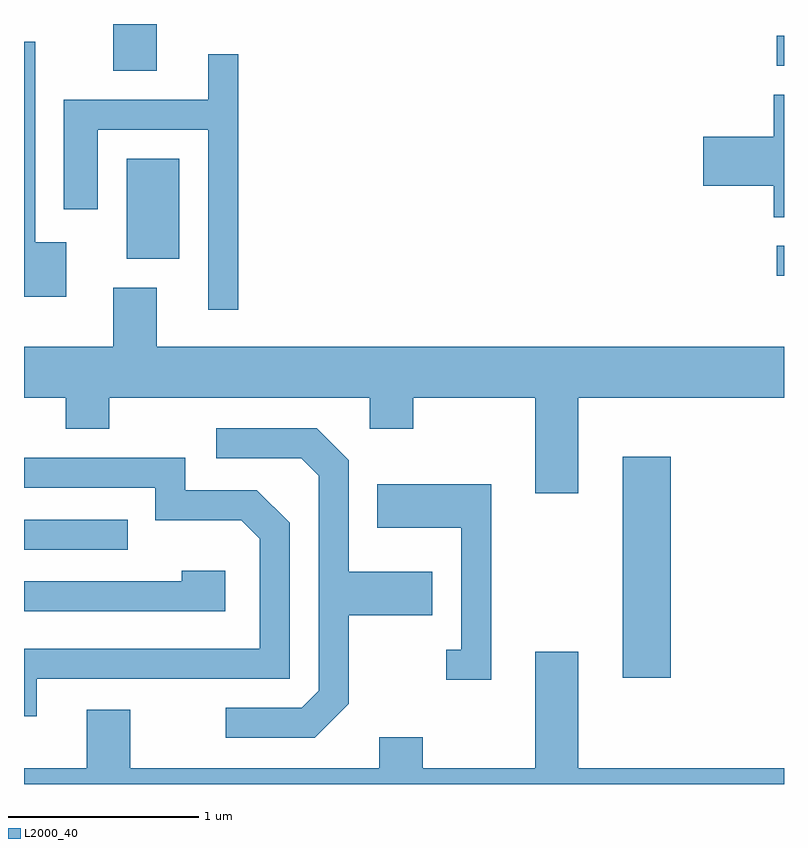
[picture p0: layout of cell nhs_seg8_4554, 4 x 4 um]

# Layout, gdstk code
import gdstk
lib = gdstk.Library(unit=1e-6, precision=1e-09)
def R(c, l, rs):  # rectangles x0, y0, x1, y1
    for r in rs: c.add(gdstk.rectangle(r[:2], r[2:], *l))
def P(c, l, *ps):  # polygons
    for p in ps: c.add(gdstk.Polygon(p, *l))
L2000_40 = (2000, 40)

nhs_seg8_4554 = lib.new_cell('nhs_seg8_4554')
R(nhs_seg8_4554, L2000_40, [(324.761,1874.901,325.014,1876.064), (321.611,1875.576,322.158,1875.734), (325.573,1877.016,325.611,1877.174), (322.151,1877.106,322.429,1877.634), (322.081,1878.096,322.309,1878.342), (325.573,1878.121,325.611,1878.279)])
P(nhs_seg8_4554, L2000_40, [(321.834,1877.194),(321.669,1877.194),(321.669,1878.249),(321.611,1878.249),(321.611,1876.906),(321.834,1876.906)],
  [(322.739,1878.183),(322.581,1878.183),(322.581,1877.944),(321.821,1877.944),(321.821,1877.366),(321.999,1877.366),(321.999,1877.786),(322.581,1877.786),(322.581,1876.838),(322.739,1876.838)],
  [(325.611,1877.969),(325.556,1877.969),(325.556,1877.749),(325.186,1877.749),(325.186,1877.491),(325.556,1877.491),(325.556,1877.326),(325.611,1877.326)],
  [(324.529,1876.376),(325.611,1876.376),(325.611,1876.644),(322.309,1876.644),(322.309,1876.954),(322.081,1876.954),(322.081,1876.644),(321.611,1876.644),(321.611,1876.376),(321.831,1876.376),(321.831,1876.211),(322.059,1876.211),(322.059,1876.376),(323.431,1876.376),(323.431,1876.211),(323.659,1876.211),(323.659,1876.376),(324.301,1876.376),(324.301,1875.871),(324.529,1875.871)],
  [(323.319,1874.764),(323.319,1875.231),(323.759,1875.231),(323.759,1875.459),(323.319,1875.459),(323.319,1876.047),(323.152,1876.214),(322.623,1876.214),(322.623,1876.056),(323.069,1876.056),(323.161,1875.964),(323.161,1874.832),(323.074,1874.744),(322.673,1874.744),(322.673,1874.586),(323.142,1874.586)],
  [(321.679,1874.896),(323.009,1874.896),(323.009,1875.717),(322.837,1875.889),(322.459,1875.889),(322.459,1876.059),(321.611,1876.059),(321.611,1875.901),(322.301,1875.901),(322.301,1875.731),(322.754,1875.731),(322.851,1875.634),(322.851,1875.054),(321.611,1875.054),(321.611,1874.698),(321.679,1874.698)],
  [(324.069,1875.919),(323.471,1875.919),(323.471,1875.691),(323.911,1875.691),(323.911,1875.049),(323.833,1875.049),(323.833,1874.891),(324.069,1874.891)],
  [(322.669,1875.464),(322.441,1875.464),(322.441,1875.409),(321.611,1875.409),(321.611,1875.251),(322.669,1875.251)],
  [(325.611,1874.424),(324.529,1874.424),(324.529,1875.039),(324.301,1875.039),(324.301,1874.424),(323.709,1874.424),(323.709,1874.589),(323.481,1874.589),(323.481,1874.424),(322.169,1874.424),(322.169,1874.734),(321.941,1874.734),(321.941,1874.424),(321.611,1874.424),(321.611,1874.342),(325.611,1874.342)])

lib.write_gds('nhs_seg8_4554.gds')
